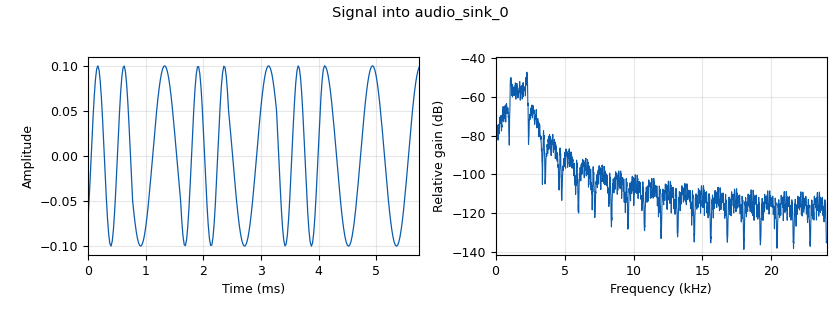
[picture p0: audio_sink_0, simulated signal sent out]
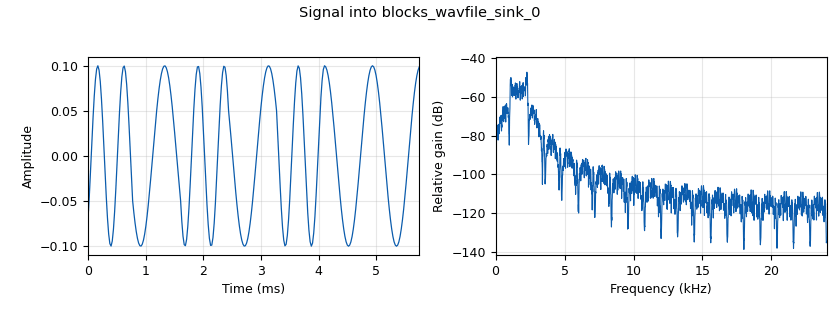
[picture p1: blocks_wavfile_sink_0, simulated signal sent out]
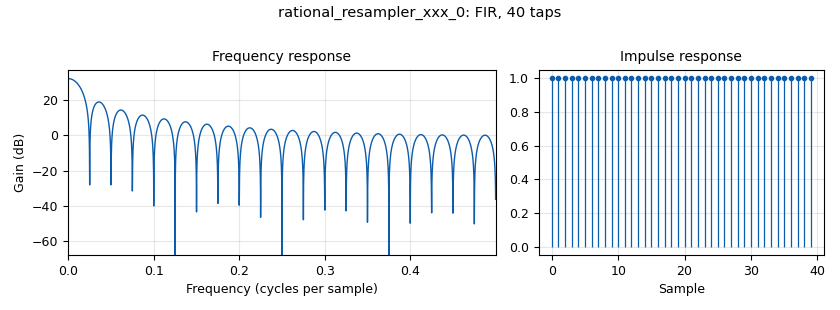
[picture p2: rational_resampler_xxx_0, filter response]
<?xml version='1.0' encoding='utf-8'?>
<?grc format='1' created='3.7.5'?>
<flow_graph>
<block>
<key>options</key>
<param><key>id</key><value>top_block</value></param>
<param><key>generate_options</key><value>no_gui</value></param>
<param><key>category</key><value>Custom</value></param>
</block>
<block>
<key>variable</key>
<param><key>id</key><value>packet</value></param>
<param><key>value</key><value>callsign + callsign_0 + [0x03, 0xf0] + msg</value></param>
</block>
<block>
<key>variable</key>
<param><key>id</key><value>msg</value></param>
<param><key>value</key><value>[ord(c) for c in 'hello world!']</value></param>
</block>
<block>
<key>variable</key>
<param><key>id</key><value>callsign</value></param>
<param><key>value</key><value>[ord(c) &lt;&lt; 1 for c in 'KB3VOZ'] + [0x00]</value></param>
</block>
<block>
<key>variable</key>
<param><key>id</key><value>callsign_0</value></param>
<param><key>value</key><value>[ord(c) &lt;&lt; 1 for c in 'KB3VOZ'] + [0x01]</value></param>
</block>
<block>
<key>variable</key>
<param><key>id</key><value>samp_rate</value></param>
<param><key>value</key><value>48000</value></param>
</block>
<block>
<key>import</key>
<param><key>id</key><value>import_0</value></param>
<param><key>import</key><value>import math</value></param>
</block>
<block>
<key>rational_resampler_xxx</key>
<param><key>id</key><value>rational_resampler_xxx_0</value></param>
<param><key>type</key><value>fff</value></param>
<param><key>interp</key><value>40</value></param>
<param><key>decim</key><value>1</value></param>
<param><key>taps</key><value>[1]*40</value></param>
</block>
<block>
<key>blocks_add_const_vxx</key>
<param><key>id</key><value>blocks_add_const_vxx_0</value></param>
<param><key>type</key><value>float</value></param>
<param><key>const</key><value>1200</value></param>
</block>
<block>
<key>blocks_char_to_float</key>
<param><key>id</key><value>blocks_char_to_float_0</value></param>
<param><key>scale</key><value>1.0/1000</value></param>
</block>
<block>
<key>audio_sink</key>
<param><key>id</key><value>audio_sink_0</value></param>
<param><key>samp_rate</key><value>samp_rate</value></param>
</block>
<block>
<key>analog_random_source_x</key>
<param><key>id</key><value>analog_random_source_x_0</value></param>
<param><key>_enabled</key><value>False</value></param>
<param><key>type</key><value>byte</value></param>
<param><key>min</key><value>1</value></param>
<param><key>max</key><value>2</value></param>
<param><key>num_samps</key><value>1000</value></param>
<param><key>repeat</key><value>True</value></param>
</block>
<block>
<key>digital_diff_encoder_bb</key>
<param><key>id</key><value>digital_diff_encoder_bb_0</value></param>
<param><key>modulus</key><value>2</value></param>
</block>
<block>
<key>digital_hdlc_framer_pb</key>
<param><key>id</key><value>digital_hdlc_framer_pb_0</value></param>
<param><key>frame_tag_name</key><value>tag</value></param>
</block>
<block>
<key>blocks_message_strobe</key>
<param><key>id</key><value>blocks_message_strobe_0</value></param>
<param><key>msg</key><value>pmt.cons(pmt.PMT_NIL, pmt.init_u8vector(len(packet),packet))</value></param>
<param><key>period</key><value>1000</value></param>
</block>
<block>
<key>blocks_vco_f</key>
<param><key>id</key><value>blocks_vco_f_0</value></param>
<param><key>samp_rate</key><value>samp_rate</value></param>
<param><key>sensitivity</key><value>2*math.pi</value></param>
<param><key>amplitude</key><value>0.1</value></param>
</block>
<block>
<key>blocks_wavfile_sink</key>
<param><key>id</key><value>blocks_wavfile_sink_0</value></param>
<param><key>file</key><value>/tmp/aprs.wav</value></param>
<param><key>samp_rate</key><value>samp_rate</value></param>
<param><key>bits_per_sample</key><value>8</value></param>
</block>
<connection><source_block_id>blocks_char_to_float_0</source_block_id><sink_block_id>blocks_add_const_vxx_0</sink_block_id><source_key>0</source_key><sink_key>0</sink_key></connection>
<connection><source_block_id>blocks_add_const_vxx_0</source_block_id><sink_block_id>rational_resampler_xxx_0</sink_block_id><source_key>0</source_key><sink_key>0</sink_key></connection>
<connection><source_block_id>rational_resampler_xxx_0</source_block_id><sink_block_id>blocks_vco_f_0</sink_block_id><source_key>0</source_key><sink_key>0</sink_key></connection>
<connection><source_block_id>digital_diff_encoder_bb_0</source_block_id><sink_block_id>blocks_char_to_float_0</sink_block_id><source_key>0</source_key><sink_key>0</sink_key></connection>
<connection><source_block_id>analog_random_source_x_0</source_block_id><sink_block_id>digital_diff_encoder_bb_0</sink_block_id><source_key>0</source_key><sink_key>0</sink_key></connection>
<connection><source_block_id>blocks_vco_f_0</source_block_id><sink_block_id>audio_sink_0</sink_block_id><source_key>0</source_key><sink_key>0</sink_key></connection>
<connection><source_block_id>blocks_message_strobe_0</source_block_id><sink_block_id>digital_hdlc_framer_pb_0</sink_block_id><source_key>strobe</source_key><sink_key>in</sink_key></connection>
<connection><source_block_id>digital_hdlc_framer_pb_0</source_block_id><sink_block_id>digital_diff_encoder_bb_0</sink_block_id><source_key>0</source_key><sink_key>0</sink_key></connection>
<connection><source_block_id>blocks_vco_f_0</source_block_id><sink_block_id>blocks_wavfile_sink_0</sink_block_id><source_key>0</source_key><sink_key>0</sink_key></connection>
</flow_graph>
